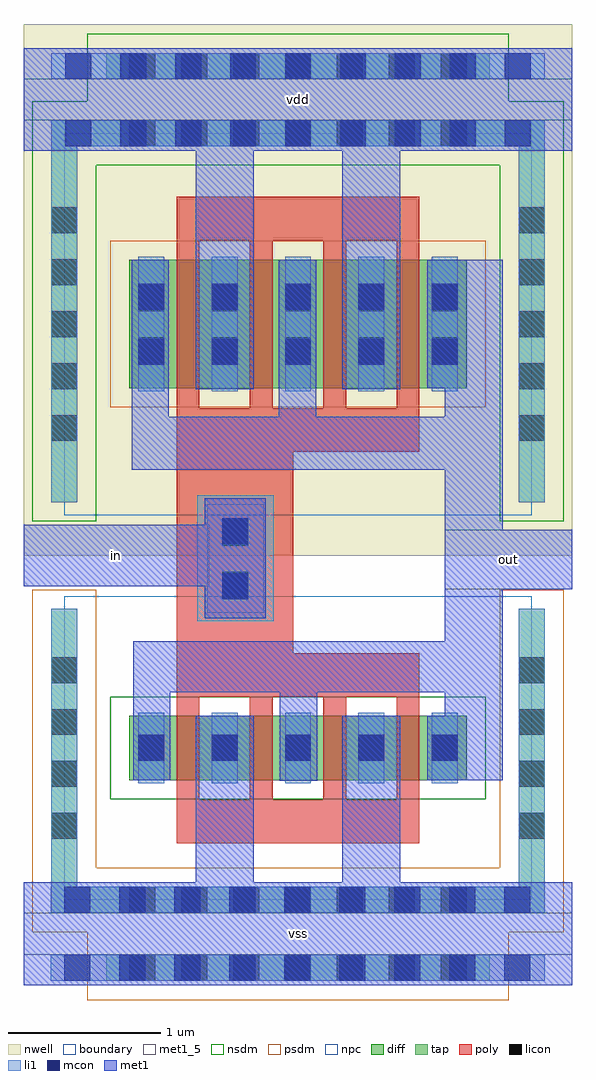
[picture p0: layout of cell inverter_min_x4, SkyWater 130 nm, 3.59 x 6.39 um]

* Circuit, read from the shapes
.subckt inverter_min_x4 in out vdd vss
XM1 vss in out vss sky130_fd_pr__nfet_01v8 w=0.42 l=0.15 m=4
XM2 vdd in out vdd sky130_fd_pr__pfet_01v8 w=0.84 l=0.15 m=4
.ends

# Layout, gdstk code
import gdstk
lib = gdstk.Library(unit=1e-6, precision=1e-09)
def R(c, l, rs):  # rectangles x0, y0, x1, y1
    for r in rs: c.add(gdstk.rectangle(r[:2], r[2:], *l))
def A(c, l, x, y, w, h, nx, ny, dx, dy):  # array of equal rectangles
    R(c, l, [(x+i*dx, y+j*dy, x+i*dx+w, y+j*dy+h) for i in range(nx) for j in range(ny)])
nwell = (64, 20)
diff = (65, 20)
tap = (65, 44)
poly = (66, 20)
licon = (66, 44)
li1 = (67, 20)
mcon = (67, 44)
met1_5 = (68, 5)
met1 = (68, 20)
nsdm = (93, 44)
psdm = (94, 20)
npc = (95, 20)
boundary = (235, 4)

sky130_fd_pr__pfet_01v8_ = lib.new_cell('sky130_fd_pr__pfet_01v8_ZP3U9B')
R(sky130_fd_pr__pfet_01v8_, nwell, [(-1.795,-1.515,1.795,1.515)])
R(sky130_fd_pr__pfet_01v8_, diff, [(-1.105,-0.42,1.105,0.42)])
R(sky130_fd_pr__pfet_01v8_, tap, [(-1.615,-1.165,-1.445,1.165), (1.445,-1.165,1.615,1.165), (-1.615,1.165,1.615,1.335)])
A(sky130_fd_pr__pfet_01v8_, poly, -0.795, -0.55, 0.15, 1.1, 4, 1, 0.48, 0)
A(sky130_fd_pr__pfet_01v8_, licon, -1.615, -0.765, 0.17, 0.17, 1, 5, 0, 0.34)
A(sky130_fd_pr__pfet_01v8_, licon, 1.445, -0.765, 0.17, 0.17, 1, 5, 0, 0.34)
A(sky130_fd_pr__pfet_01v8_, licon, -1.045, -0.255, 0.17, 0.17, 5, 2, 0.48, 0.34)
A(sky130_fd_pr__pfet_01v8_, licon, -1.105, 1.165, 0.17, 0.17, 7, 1, 0.34, 0)
A(sky130_fd_pr__pfet_01v8_, li1, -1.045, -0.44, 0.17, 0.88, 5, 1, 0.48, 0)
R(sky130_fd_pr__pfet_01v8_, li1, [(-1.615,-1.165,-1.445,1.165), (1.445,-1.165,1.615,1.165), (-1.615,1.165,1.615,1.335)])
A(sky130_fd_pr__pfet_01v8_, mcon, -1.045, -0.265, 0.17, 0.17, 5, 2, 0.48, 0.36)
A(sky130_fd_pr__pfet_01v8_, met1, -1.075, -0.42, 0.23, 0.84, 5, 1, 0.48, 0)
R(sky130_fd_pr__pfet_01v8_, nsdm, [(-1.74,-1.29,-1.32,1.04), (1.32,-1.29,1.74,1.04), (-1.74,1.04,1.74,1.46)])
R(sky130_fd_pr__pfet_01v8_, psdm, [(-1.23,-0.545,1.23,0.545)])
R(sky130_fd_pr__pfet_01v8_, boundary, [(-1.53,-1.25,1.53,1.25)])

sky130_fd_pr__nfet_01v8_ = lib.new_cell('sky130_fd_pr__nfet_01v8_DXA56D')
R(sky130_fd_pr__nfet_01v8_, diff, [(-1.105,-0.21,1.105,0.21)])
R(sky130_fd_pr__nfet_01v8_, tap, [(-1.615,-1.08,1.615,-0.91), (-1.615,-0.91,-1.445,0.91), (1.445,-0.91,1.615,0.91)])
A(sky130_fd_pr__nfet_01v8_, poly, -0.795, -0.34, 0.15, 0.68, 4, 1, 0.48, 0)
A(sky130_fd_pr__nfet_01v8_, licon, -1.105, -1.08, 0.17, 0.17, 7, 1, 0.34, 0)
A(sky130_fd_pr__nfet_01v8_, licon, -1.615, -0.595, 0.17, 0.17, 1, 4, 0, 0.34)
A(sky130_fd_pr__nfet_01v8_, licon, 1.445, -0.595, 0.17, 0.17, 1, 4, 0, 0.34)
A(sky130_fd_pr__nfet_01v8_, licon, -1.045, -0.085, 0.17, 0.17, 5, 1, 0.48, 0)
A(sky130_fd_pr__nfet_01v8_, li1, -1.045, -0.23, 0.17, 0.46, 5, 1, 0.48, 0)
R(sky130_fd_pr__nfet_01v8_, li1, [(-1.615,-1.08,1.615,-0.91), (-1.615,-0.91,-1.445,0.91), (1.445,-0.91,1.615,0.91)])
A(sky130_fd_pr__nfet_01v8_, mcon, -1.045, -0.085, 0.17, 0.17, 5, 1, 0.48, 0)
A(sky130_fd_pr__nfet_01v8_, met1, -1.075, -0.21, 0.23, 0.42, 5, 1, 0.48, 0)
R(sky130_fd_pr__nfet_01v8_, nsdm, [(-1.23,-0.335,1.23,0.335)])
R(sky130_fd_pr__nfet_01v8_, psdm, [(-1.74,-1.205,1.74,-0.785), (-1.74,-0.785,-1.32,1.035), (1.32,-0.785,1.74,1.035)])
R(sky130_fd_pr__nfet_01v8_, boundary, [(-1.53,-0.995,1.53,0.995)])

inverter_min_x4 = lib.new_cell('inverter_min_x4')
R(inverter_min_x4, nwell, [(-0.265,2.655,3.325,3.215)])
R(inverter_min_x4, tap, [(0.275,-3.05,2.785,-2.88), (0.275,2.855,2.785,3.025)])
R(inverter_min_x4, poly, [(0.735,-2.15,2.325,-1.865), (0.735,-1.19,2.325,-0.905), (0.735,-0.905,1.5,0.415), (0.735,0.415,2.325,0.7), (0.735,1.8,2.325,2.085)])
A(inverter_min_x4, licon, 0.425, -3.05, 0.17, 0.17, 7, 2, 0.34, 5.905)
R(inverter_min_x4, licon, [(1.035,-0.54,1.205,-0.37), (1.035,-0.2,1.205,-0.03)])
R(inverter_min_x4, li1, [(-0.09,-3.05,3.145,-2.88), (-0.09,-2.605,3.145,-2.435), (0.87,-0.695,1.37,0.13), (-0.085,2.415,3.145,2.585), (-0.085,2.855,3.145,3.025)])
A(inverter_min_x4, mcon, 0, -3.05, 0.17, 0.17, 9, 2, 0.36, 0.445)
A(inverter_min_x4, mcon, 0.005, 2.415, 0.17, 0.17, 9, 2, 0.36, 0.44)
R(inverter_min_x4, mcon, [(1.035,-0.55,1.205,-0.38), (1.035,-0.19,1.205,-0.02)])
R(inverter_min_x4, met1_5, [(-0.265,-2.88,3.325,-2.605), (2.49,-0.485,3.325,-0.095), (-0.265,-0.465,0.95,-0.065), (-0.265,2.585,3.325,2.855)])
R(inverter_min_x4, met1, [(-0.265,-3.08,3.325,-2.405), (0.86,-2.405,1.24,-1.315), (1.82,-2.405,2.2,-1.315), (1.41,-1.74,1.655,-1.16), (0.45,-1.735,0.695,-1.16), (2.49,-1.735,2.87,-1.16), (0.45,-1.16,2.87,-0.825), (2.49,-0.825,2.87,-0.485), (0.92,-0.675,1.32,-0.465), (2.49,-0.485,3.325,-0.095), (-0.265,-0.465,1.32,-0.065), (2.49,-0.095,2.87,0.295), (0.92,-0.065,1.32,0.11), (0.44,0.295,2.87,0.645), (0.44,0.645,0.685,1.67), (1.405,0.645,1.65,1.665), (2.49,0.645,2.87,1.67), (0.86,0.825,1.24,2.385), (1.82,0.825,2.2,2.385), (-0.265,2.385,3.325,3.055)])
R(inverter_min_x4, nsdm, [(0.15,2.71,2.91,3.15)])
R(inverter_min_x4, psdm, [(0.15,-3.175,2.91,-2.73)])
R(inverter_min_x4, npc, [(0.935,-0.64,1.305,0.07)])
inverter_min_x4.add(gdstk.Reference(sky130_fd_pr__pfet_01v8_, (1.53,1.25)))
inverter_min_x4.add(gdstk.Reference(sky130_fd_pr__nfet_01v8_, (1.53,-1.525)))
inverter_min_x4.add(gdstk.Label('vss', (1.53,-2.742), layer=68, texttype=5))
inverter_min_x4.add(gdstk.Label('in', (0.342,-0.265), layer=68, texttype=5))
inverter_min_x4.add(gdstk.Label('out', (2.907,-0.29), layer=68, texttype=5))
inverter_min_x4.add(gdstk.Label('vdd', (1.53,2.72), layer=68, texttype=5))

lib.write_gds('inverter_min_x4.gds')
